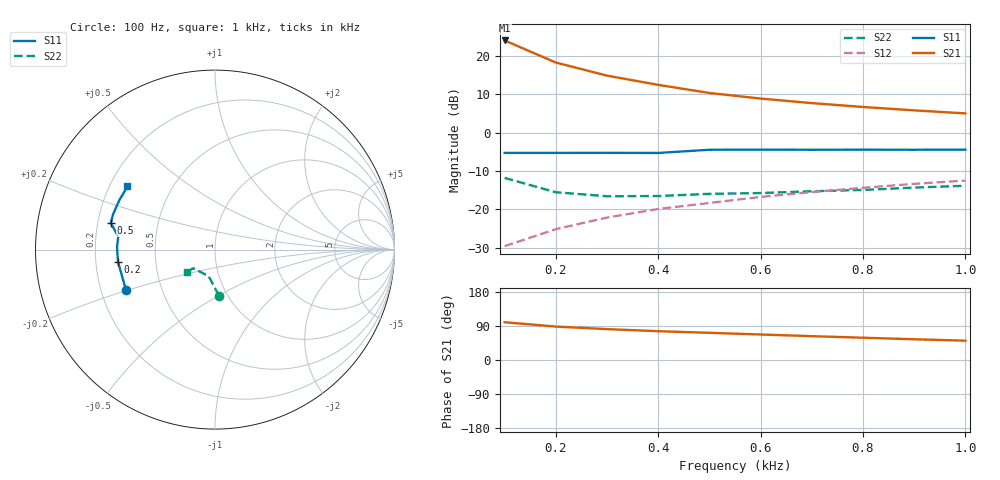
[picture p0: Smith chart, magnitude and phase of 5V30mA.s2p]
#  HZ  S  MA  R  50.0000
! Device:2SC5551A
! Bias:VCE=5V, IC=30mA
!MHZ	S11(MAG/ANG)		S21(MAG/ANG)		S12(MAG/ANG)		S22(MAG/ANG)
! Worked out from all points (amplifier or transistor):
!   10 points, 100 Hz to 1 kHz, reference 50 ohm
!   highest |S21| = 24.1 dB at 100 Hz (marker M1)
!   |S21| within 3 dB of that: start of sweep to 152.1 Hz
!   unconditionally stable (mu >= 1): 338.3 Hz to 791.7 Hz
!   at 200 Hz: K = 0.95, MSG = 21.8 dB, |S12| = -25.2 dB
!   at 600 Hz: K = 1.01, MAG = 12.1 dB, |S12| = -16.8 dB
!   at 1 kHz: K = 0.98, MSG = 8.8 dB, |S12| = -12.5 dB
!   S11 on the Smith chart (normalised r, x): 100 Hz: 0.31, -0.20; 200 Hz: 0.30, -0.06; 500 Hz: 0.25, +0.12; 1 kHz: 0.27, +0.30
100  0.545 -155.4  16.02 99.6  0.033 59.2  0.257 -85.2
200  0.545 -173.0  8.25 88.2  0.055 67.3  0.167 -99.0
300  0.546 178.5  5.564 81.5  0.078 69.9  0.148 -105.6
400  0.544 172.3  4.214 76.0  0.101 70.5  0.149 -109.7
500  0.599 165.7  3.304 71.7  0.121 70.8  0.159 -139.1
600  0.601 160.9  2.792 67.3  0.145 70.0  0.163 -139.8
700  0.599 156.5  2.435 62.9  0.168 68.7  0.172 -140.2
800  0.6 152.3  2.167 58.8  0.191 67.3  0.179 -140.3
900  0.599 147.9  1.958 54.7  0.215 65.6  0.192 -140.4
1000  0.602 144.1  1.787 51.0  0.237 64.0  0.203 -141.4
